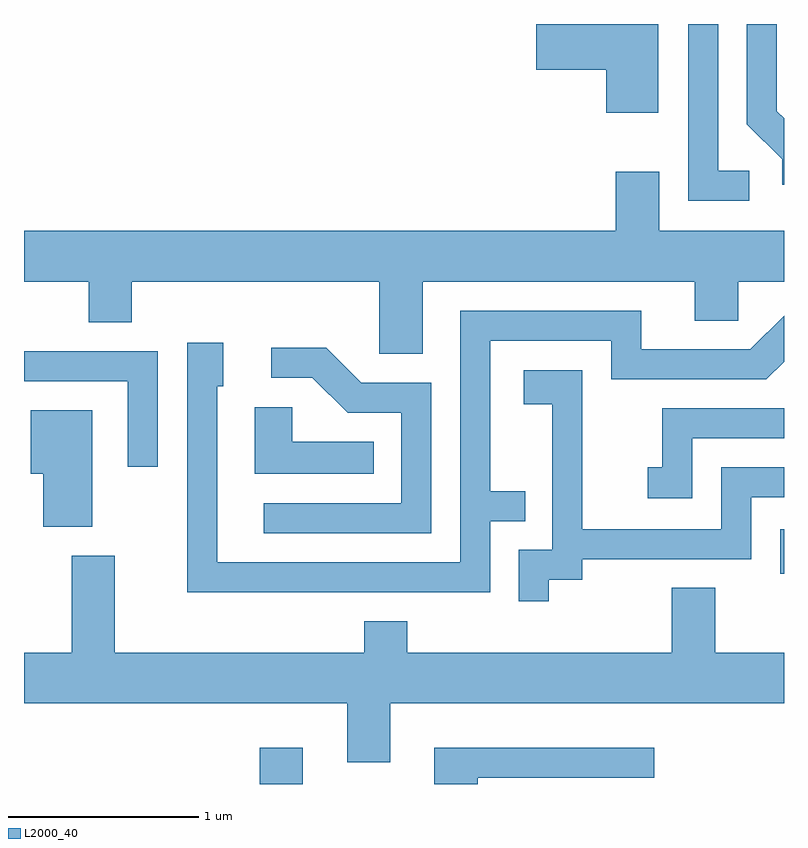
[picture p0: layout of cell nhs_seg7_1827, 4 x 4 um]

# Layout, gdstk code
import gdstk
lib = gdstk.Library(unit=1e-6, precision=1e-09)
def R(c, l, rs):  # rectangles x0, y0, x1, y1
    for r in rs: c.add(gdstk.rectangle(r[:2], r[2:], *l))
def P(c, l, *ps):  # polygons
    for p in ps: c.add(gdstk.Polygon(p, *l))
L2000_40 = (2000, 40)

nhs_seg7_1827 = lib.new_cell('nhs_seg7_1827')
R(nhs_seg7_1827, L2000_40, [(240.851,1798.252,241.079,1798.444), (243.591,1799.358,243.611,1799.594)])
P(nhs_seg7_1827, L2000_40, [(243.611,1801.755),(243.574,1801.792),(243.574,1802.252),(243.416,1802.252),(243.416,1801.724),(243.601,1801.539),(243.601,1801.406),(243.611,1801.406)],
  [(242.949,1802.252),(242.306,1802.252),(242.306,1802.011),(242.676,1802.011),(242.676,1801.786),(242.949,1801.786)],
  [(243.428,1801.479),(243.264,1801.479),(243.264,1802.252),(243.106,1802.252),(243.106,1801.321),(243.428,1801.321)],
  [(241.709,1800.896),(243.141,1800.896),(243.141,1800.691),(243.369,1800.691),(243.369,1800.896),(243.611,1800.896),(243.611,1801.164),(242.954,1801.164),(242.954,1801.474),(242.726,1801.474),(242.726,1801.164),(239.611,1801.164),(239.611,1800.896),(239.951,1800.896),(239.951,1800.681),(240.179,1800.681),(240.179,1800.896),(241.481,1800.896),(241.481,1800.516),(241.709,1800.516)],
  [(242.064,1799.636),(242.248,1799.636),(242.248,1799.794),(242.064,1799.794),(242.064,1800.586),(242.701,1800.586),(242.701,1800.381),(243.517,1800.381),(243.611,1800.475),(243.611,1800.716),(243.434,1800.539),(242.859,1800.539),(242.859,1800.744),(241.906,1800.744),(241.906,1799.419),(240.629,1799.419),(240.629,1800.346),(240.659,1800.346),(240.659,1800.574),(240.471,1800.574),(240.471,1799.261),(242.064,1799.261)],
  [(241.754,1800.364),(241.387,1800.364),(241.202,1800.549),(240.913,1800.549),(240.913,1800.391),(241.129,1800.391),(241.314,1800.206),(241.596,1800.206),(241.596,1799.729),(240.873,1799.729),(240.873,1799.571),(241.754,1799.571)],
  [(240.314,1800.529),(239.611,1800.529),(239.611,1800.371),(240.156,1800.371),(240.156,1799.923),(240.314,1799.923)],
  [(242.374,1799.326),(242.549,1799.326),(242.549,1799.436),(243.439,1799.436),(243.439,1799.761),(243.611,1799.761),(243.611,1799.919),(243.281,1799.919),(243.281,1799.594),(242.549,1799.594),(242.549,1800.429),(242.241,1800.429),(242.241,1800.251),(242.391,1800.251),(242.391,1799.484),(242.216,1799.484),(242.216,1799.213),(242.374,1799.213)],
  [(241.453,1800.054),(241.024,1800.054),(241.024,1800.234),(240.826,1800.234),(240.826,1799.886),(241.453,1799.886)],
  [(243.129,1800.071),(243.611,1800.071),(243.611,1800.229),(242.971,1800.229),(242.971,1799.919),(242.893,1799.919),(242.893,1799.756),(243.129,1799.756)],
  [(239.969,1800.219),(239.646,1800.219),(239.646,1799.886),(239.711,1799.886),(239.711,1799.606),(239.969,1799.606)],
  [(241.539,1798.676),(243.611,1798.676),(243.611,1798.944),(243.249,1798.944),(243.249,1799.284),(243.021,1799.284),(243.021,1798.944),(241.629,1798.944),(241.629,1799.109),(241.401,1799.109),(241.401,1798.944),(240.089,1798.944),(240.089,1799.454),(239.861,1799.454),(239.861,1798.944),(239.611,1798.944),(239.611,1798.676),(241.311,1798.676),(241.311,1798.366),(241.539,1798.366)],
  [(241.999,1798.286),(242.928,1798.286),(242.928,1798.444),(241.771,1798.444),(241.771,1798.252),(241.999,1798.252)])

lib.write_gds('nhs_seg7_1827.gds')
